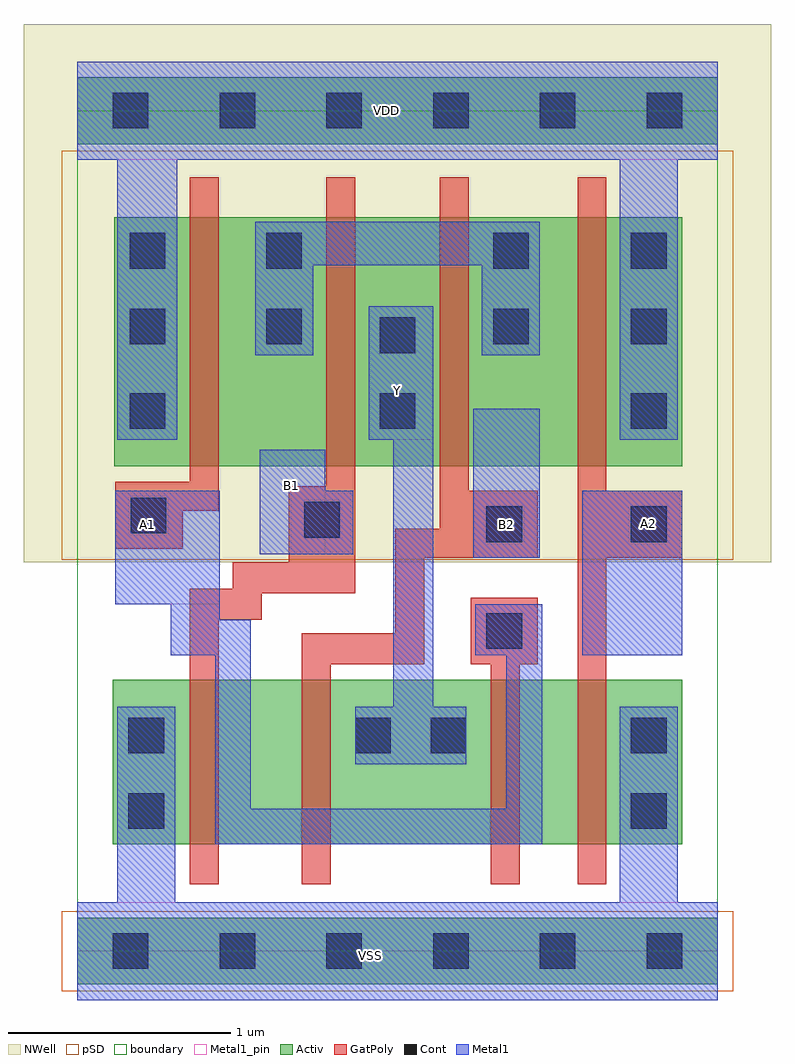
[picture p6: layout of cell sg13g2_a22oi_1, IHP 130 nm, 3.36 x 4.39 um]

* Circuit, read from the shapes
.subckt sg13g2_a22oi_1 A1 A2 B1 B2 VDD VSS Y
XM1 n1 B1 VSS VSS sg13_lv_nmos w=0.74u l=0.13u
XM2 Y B2 n1 VSS sg13_lv_nmos w=0.74u l=0.13u
XM3 n2 A1 Y VSS sg13_lv_nmos w=0.74u l=0.13u
XM4 VSS A2 n2 VSS sg13_lv_nmos w=0.74u l=0.13u
XM5 n3 A1 VDD VDD sg13_lv_pmos w=1.12u l=0.13u
XM6 Y B1 n3 VDD sg13_lv_pmos w=1.12u l=0.13u
XM7 n3 B2 Y VDD sg13_lv_pmos w=1.12u l=0.13u
XM8 VDD A2 n3 VDD sg13_lv_pmos w=1.12u l=0.13u
.ends

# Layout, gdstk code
import gdstk
lib = gdstk.Library(unit=1e-6, precision=1e-09)
def R(c, l, rs):  # rectangles x0, y0, x1, y1
    for r in rs: c.add(gdstk.rectangle(r[:2], r[2:], *l))
def P(c, l, *ps):  # polygons
    for p in ps: c.add(gdstk.Polygon(p, *l))
Activ = (1, 0)
GatPoly = (5, 0)
Cont = (6, 0)
Metal1 = (8, 0)
Metal1_pin = (8, 2)
pSD = (14, 0)
NWell = (31, 0)
boundary = (189, 4)

sg13g2_a22oi_1 = lib.new_cell('sg13g2_a22oi_1')
R(sg13g2_a22oi_1, Activ, [(0,-0.15,2.88,0.15), (0,-0.15,2.88,0.15), (0.16,0.48,2.72,1.22), (0.16,0.48,2.72,1.22), (0.165,2.18,2.72,3.3), (0.165,2.18,2.72,3.3), (0,3.63,2.88,3.93), (0,3.63,2.88,3.93)])
P(sg13g2_a22oi_1, GatPoly, [(0.505,0.3),(0.505,1.63),(0.7,1.63),(0.7,1.75),(0.95,1.75),(0.95,2.09),(1.12,2.09),(1.12,3.48),(1.25,3.48),(1.25,1.61),(0.83,1.61),(0.83,1.49),(0.635,1.49),(0.635,0.3)],
  [(2.25,0.3),(2.25,3.48),(2.38,3.48),(2.38,2.07),(2.72,2.07),(2.72,1.77),(2.38,1.77),(2.38,0.3)],
  [(1.86,0.3),(1.86,1.29),(1.77,1.29),(1.77,1.59),(2.07,1.59),(2.07,1.29),(1.99,1.29),(1.99,0.3)],
  [(0.17,1.81),(0.17,2.11),(0.505,2.11),(0.505,3.48),(0.635,3.48),(0.635,1.98),(0.475,1.98),(0.475,1.81)],
  [(1.01,0.3),(1.01,1.43),(1.43,1.43),(1.43,1.9),(1.63,1.9),(1.63,3.48),(1.76,3.48),(1.76,2.07),(2.07,2.07),(2.07,1.77),(1.56,1.77),(1.56,1.29),(1.14,1.29),(1.14,0.3)],
  [(0.505,0.3),(0.505,1.63),(0.7,1.63),(0.7,1.75),(0.95,1.75),(0.95,2.09),(1.12,2.09),(1.12,3.48),(1.25,3.48),(1.25,1.61),(0.83,1.61),(0.83,1.49),(0.635,1.49),(0.635,0.3)],
  [(2.25,0.3),(2.25,3.48),(2.38,3.48),(2.38,2.07),(2.72,2.07),(2.72,1.77),(2.38,1.77),(2.38,0.3)],
  [(1.86,0.3),(1.86,1.29),(1.77,1.29),(1.77,1.59),(2.07,1.59),(2.07,1.29),(1.99,1.29),(1.99,0.3)],
  [(0.17,1.81),(0.17,2.11),(0.505,2.11),(0.505,3.48),(0.635,3.48),(0.635,1.98),(0.475,1.98),(0.475,1.81)],
  [(1.01,0.3),(1.01,1.43),(1.43,1.43),(1.43,1.9),(1.63,1.9),(1.63,3.48),(1.76,3.48),(1.76,2.07),(2.07,2.07),(2.07,1.77),(1.56,1.77),(1.56,1.29),(1.14,1.29),(1.14,0.3)])
R(sg13g2_a22oi_1, Cont, [(0.16,-0.08,0.32,0.08), (0.16,-0.08,0.32,0.08), (0.64,-0.08,0.8,0.08), (0.64,-0.08,0.8,0.08), (1.12,-0.08,1.28,0.08), (1.12,-0.08,1.28,0.08), (1.6,-0.08,1.76,0.08), (1.6,-0.08,1.76,0.08), (2.08,-0.08,2.24,0.08), (2.08,-0.08,2.24,0.08), (2.56,-0.08,2.72,0.08), (2.56,-0.08,2.72,0.08), (0.23,0.55,0.39,0.71), (0.23,0.55,0.39,0.71), (2.49,0.55,2.65,0.71), (2.49,0.55,2.65,0.71), (0.23,0.89,0.39,1.05), (0.23,0.89,0.39,1.05), (1.25,0.89,1.41,1.05), (1.25,0.89,1.41,1.05), (1.59,0.89,1.75,1.05), (1.59,0.89,1.75,1.05), (2.49,0.89,2.65,1.05), (2.49,0.89,2.65,1.05), (1.84,1.36,2,1.52), (1.84,1.36,2,1.52), (1.84,1.84,2,2), (1.84,1.84,2,2), (2.49,1.84,2.65,2), (2.49,1.84,2.65,2), (1.02,1.86,1.18,2.02), (1.02,1.86,1.18,2.02), (0.24,1.88,0.4,2.04), (0.24,1.88,0.4,2.04), (0.235,2.35,0.395,2.51), (0.235,2.35,0.395,2.51), (1.36,2.35,1.52,2.51), (1.36,2.35,1.52,2.51), (2.49,2.35,2.65,2.51), (2.49,2.35,2.65,2.51), (1.36,2.69,1.52,2.85), (1.36,2.69,1.52,2.85), (0.235,2.73,0.395,2.89), (0.235,2.73,0.395,2.89), (0.85,2.73,1.01,2.89), (0.85,2.73,1.01,2.89), (1.87,2.73,2.03,2.89), (1.87,2.73,2.03,2.89), (2.49,2.73,2.65,2.89), (2.49,2.73,2.65,2.89), (0.235,3.07,0.395,3.23), (0.235,3.07,0.395,3.23), (0.85,3.07,1.01,3.23), (0.85,3.07,1.01,3.23), (1.87,3.07,2.03,3.23), (1.87,3.07,2.03,3.23), (2.49,3.07,2.65,3.23), (2.49,3.07,2.65,3.23), (0.16,3.7,0.32,3.86), (0.16,3.7,0.32,3.86), (0.64,3.7,0.8,3.86), (0.64,3.7,0.8,3.86), (1.12,3.7,1.28,3.86), (1.12,3.7,1.28,3.86), (1.6,3.7,1.76,3.86), (1.6,3.7,1.76,3.86), (2.08,3.7,2.24,3.86), (2.08,3.7,2.24,3.86), (2.56,3.7,2.72,3.86), (2.56,3.7,2.72,3.86)])
R(sg13g2_a22oi_1, Metal1, [(2.27,1.33,2.72,2.07), (2.27,1.33,2.72,2.07), (1.78,1.77,2.08,2.44), (1.78,1.77,2.08,2.44)])
P(sg13g2_a22oi_1, Metal1, [(1.25,0.84),(1.25,1.1),(1.42,1.1),(1.42,2.3),(1.31,2.3),(1.31,2.9),(1.6,2.9),(1.6,1.1),(1.75,1.1),(1.75,0.84)],
  [(0.82,1.785),(0.82,2.255),(1.115,2.255),(1.115,2.07),(1.24,2.07),(1.24,1.785)],
  [(0.8,2.68),(0.8,3.28),(2.08,3.28),(2.08,2.68),(1.82,2.68),(1.82,3.085),(1.06,3.085),(1.06,2.68)],
  [(0,-0.22),(0,0.22),(0.18,0.22),(0.18,1.1),(0.44,1.1),(0.44,0.22),(2.44,0.22),(2.44,1.1),(2.7,1.1),(2.7,0.22),(2.88,0.22),(2.88,-0.22)],
  [(0.62,0.48),(0.62,1.33),(0.42,1.33),(0.42,1.56),(0.17,1.56),(0.17,2.07),(0.64,2.07),(0.64,1.49),(0.78,1.49),(0.78,0.64),(1.93,0.64),(1.93,1.33),(1.79,1.33),(1.79,1.56),(2.09,1.56),(2.09,0.48)],
  [(0.18,2.3),(0.18,3.56),(0,3.56),(0,4),(2.88,4),(2.88,3.56),(2.7,3.56),(2.7,2.3),(2.44,2.3),(2.44,3.56),(0.45,3.56),(0.45,2.3)],
  [(1.25,0.84),(1.25,1.1),(1.42,1.1),(1.42,2.3),(1.31,2.3),(1.31,2.9),(1.6,2.9),(1.6,1.1),(1.75,1.1),(1.75,0.84)],
  [(0.82,1.785),(0.82,2.255),(1.115,2.255),(1.115,2.07),(1.24,2.07),(1.24,1.785)],
  [(0.8,2.68),(0.8,3.28),(2.08,3.28),(2.08,2.68),(1.82,2.68),(1.82,3.085),(1.06,3.085),(1.06,2.68)],
  [(0,-0.22),(0,0.22),(0.18,0.22),(0.18,1.1),(0.44,1.1),(0.44,0.22),(2.44,0.22),(2.44,1.1),(2.7,1.1),(2.7,0.22),(2.88,0.22),(2.88,-0.22)],
  [(0.62,0.48),(0.62,1.33),(0.42,1.33),(0.42,1.56),(0.17,1.56),(0.17,2.07),(0.64,2.07),(0.64,1.49),(0.78,1.49),(0.78,0.64),(1.93,0.64),(1.93,1.33),(1.79,1.33),(1.79,1.56),(2.09,1.56),(2.09,0.48)],
  [(0.18,2.3),(0.18,3.56),(0,3.56),(0,4),(2.88,4),(2.88,3.56),(2.7,3.56),(2.7,2.3),(2.44,2.3),(2.44,3.56),(0.45,3.56),(0.45,2.3)])
R(sg13g2_a22oi_1, Metal1_pin, [(0,-0.22,2.88,0.22), (0,-0.22,2.88,0.22), (2.27,1.33,2.72,2.07), (2.27,1.33,2.72,2.07), (0.17,1.56,0.64,2.07), (0.17,1.56,0.64,2.07), (1.78,1.77,2.08,2.44), (1.78,1.77,2.08,2.44), (0.82,1.785,1.115,2.255), (0.82,1.785,1.115,2.255), (1.31,2.3,1.6,2.9), (1.31,2.3,1.6,2.9), (0,3.56,2.88,4), (0,3.56,2.88,4)])
R(sg13g2_a22oi_1, pSD, [(-0.07,-0.18,2.95,0.18), (-0.07,-0.18,2.95,0.18), (-0.07,1.76,2.95,3.6), (-0.07,1.76,2.95,3.6)])
R(sg13g2_a22oi_1, NWell, [(-0.24,1.75,3.12,4.17), (-0.24,1.75,3.12,4.17)])
R(sg13g2_a22oi_1, boundary, [(0,0,2.88,3.78), (0,0,2.88,3.78)])
sg13g2_a22oi_1.add(gdstk.Label('Y', (1.44,2.52), layer=8, texttype=25))
sg13g2_a22oi_1.add(gdstk.Label('A2', (2.57,1.925), layer=8, texttype=25))
sg13g2_a22oi_1.add(gdstk.Label('VDD', (1.39,3.78), layer=8, texttype=25))
sg13g2_a22oi_1.add(gdstk.Label('B1', (0.965,2.095), layer=8, texttype=25))
sg13g2_a22oi_1.add(gdstk.Label('A1', (0.315,1.92), layer=8, texttype=25))
sg13g2_a22oi_1.add(gdstk.Label('VSS', (1.32,-0.02), layer=8, texttype=25))
sg13g2_a22oi_1.add(gdstk.Label('B2', (1.93,1.92), layer=8, texttype=25))
sg13g2_a22oi_1.add(gdstk.Label('Y', (1.44,2.52), layer=8, texttype=25))
sg13g2_a22oi_1.add(gdstk.Label('A2', (2.57,1.925), layer=8, texttype=25))
sg13g2_a22oi_1.add(gdstk.Label('VDD', (1.39,3.78), layer=8, texttype=25))
sg13g2_a22oi_1.add(gdstk.Label('B1', (0.965,2.095), layer=8, texttype=25))
sg13g2_a22oi_1.add(gdstk.Label('A1', (0.315,1.92), layer=8, texttype=25))
sg13g2_a22oi_1.add(gdstk.Label('VSS', (1.32,-0.02), layer=8, texttype=25))
sg13g2_a22oi_1.add(gdstk.Label('B2', (1.93,1.92), layer=8, texttype=25))

lib.write_gds('sg13g2_a22oi_1.gds')
